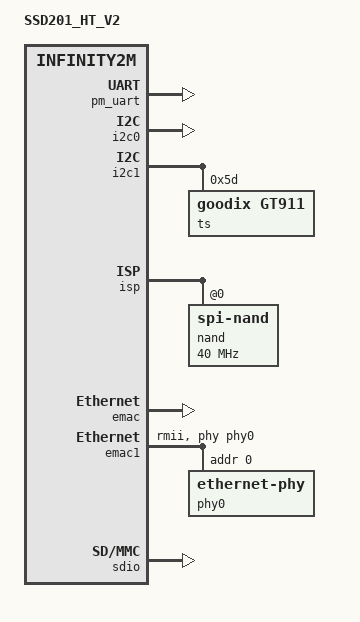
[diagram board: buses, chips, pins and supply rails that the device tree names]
// SPDX-License-Identifier: GPL-2.0-or-later
/*
 * Copyright (c) 2020 thingy.jp.
 * Author: Daniel Palmer <daniel@thingy.jp>
 */

/dts-v1/;
#include "mstar-infinity2m-ssd202d.dtsi"

/ {
	model = "SSD201_HT_V2";
	compatible = "honestar,ssd201htv2", "mstar,infinity2m";

	aliases {
		serial0 = &pm_uart;
	};

	chosen {
		stdout-path = "serial0:115200n8";
		bootargs = "console=ttyS0,115200 clk_ignore_unused";
	};
};

&pm_uart {
	status = "okay";
};

&i2c0 {
	status = "okay";
};

&i2c1 {
	status = "okay";
	ts@5d {
		compatible = "goodix,gt911";
		reg = <0x5d>;
	};
};

&isp {
	status = "okay";
	nand: nand@0 {
		#address-cells = <1>;
		#size-cells = <1>;
		compatible = "spi-nand";
		reg = <0>;
		spi-max-frequency = <40000000>;
	};
};

&emac {
	status = "okay";
};

&emac1 {
	status = "okay";
	phy-mode = "rmii";
	phy-handle = <&phy0>;


	#address-cells = <1>;
	#size-cells = <0>;
	phy0: ethernet-phy@0 {
		reg = <0x0>;
		phy-mode = "rmii";
	};
};

// In the same place, but causes lock up on boot..
&usbphy0 {
	//status = "okay";
};

&uhc0 {
	//status = "okay";
};

// In a different place AFAIT
&usbphy1 {
	//status = "okay";
};

&uhc1 {
	//status = "okay";
};

&sdio {
	status = "okay";
};
